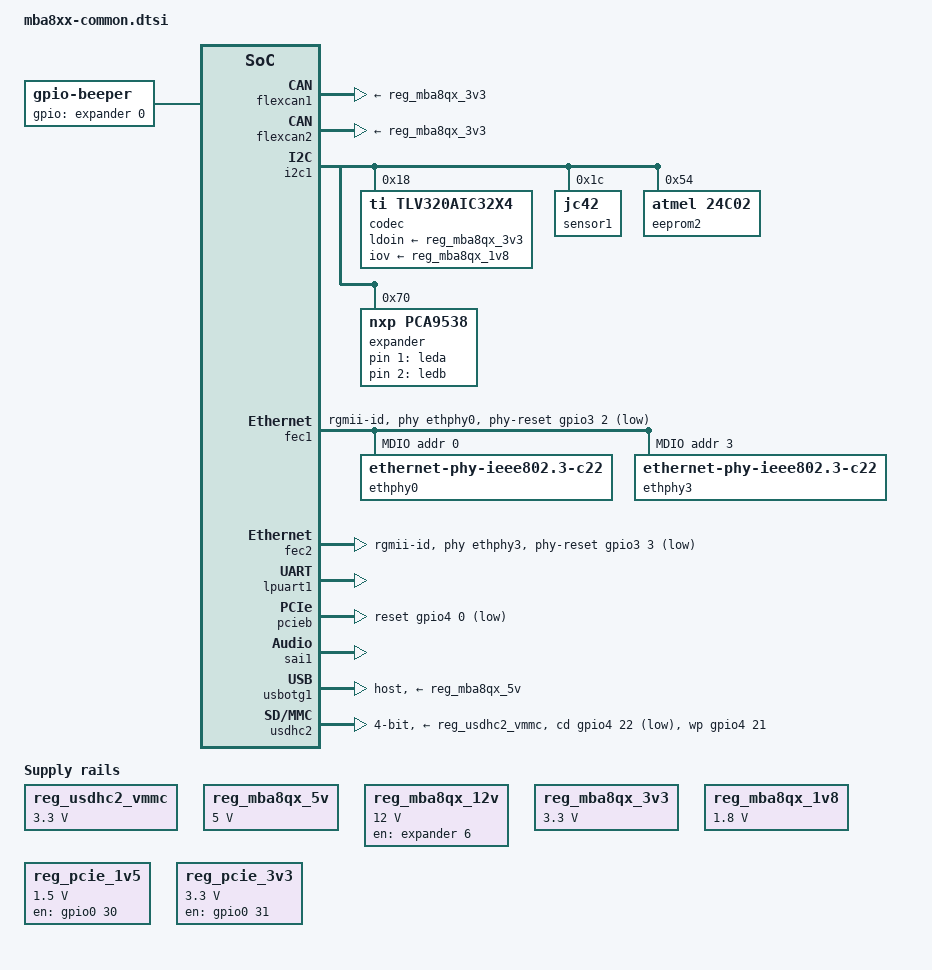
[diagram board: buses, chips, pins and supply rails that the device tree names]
/*
 * Copyright 2018 TQ Systems GmbH
 *
 * This program is free software; you can redistribute it and/or
 * modify it under the terms of the GNU General Public License
 * as published by the Free Software Foundation; either version 2
 * of the License, or (at your option) any later version.
 *
 * This program is distributed in the hope that it will be useful,
 * but WITHOUT ANY WARRANTY; without even the implied warranty of
 * MERCHANTABILITY or FITNESS FOR A PARTICULAR PURPOSE.  See the
 * GNU General Public License for more details.
 */

#include <dt-bindings/net/ti-dp83867.h>

/ {
	chosen {
		bootargs = "console=ttyLP1,115200 earlycon=lpuart32,0x5a070000,115200";
		stdout-path = &lpuart1;
	};

	beeper: gpio-beeper {
		compatible = "gpio-beeper";
		gpios = <&expander 0 GPIO_ACTIVE_HIGH>;
		status = "okay";
	};

	gpio-leds {
		compatible = "gpio-leds";
		status = "okay";

		led1 {
			label = "leda";
			gpios = <&expander 1 GPIO_ACTIVE_HIGH>;
			linux,default-trigger = "default-on";
		};

		led2 {
			label = "ledb";
			gpios = <&expander 2 GPIO_ACTIVE_HIGH>;
			linux,default-trigger = "heartbeat";
		};
	};

	regulators {
		compatible = "simple-bus";
		#address-cells = <1>;
		#size-cells = <0>;

		reg_usdhc2_vmmc: usdhc2_vmmc {
			compatible = "regulator-fixed";
			regulator-name = "SD1_PWR";
			regulator-min-microvolt = <3300000>;
			regulator-max-microvolt = <3300000>;
			status = "okay";
		};

		reg_mba8qx_5v: mba8qx_5v {
			compatible = "regulator-fixed";
			regulator-name = "MBA8QX_V5V";
			regulator-min-microvolt = <5000000>;
			regulator-max-microvolt = <5000000>;
			regulator-always-on;
			status = "okay";
		};

		reg_mba8qx_12v: mba8qx_12v {
			compatible = "regulator-fixed";
			regulator-name = "MBA8QX_12V";
			regulator-min-microvolt = <12000000>;
			regulator-max-microvolt = <12000000>;
			gpio = <&expander 6 GPIO_ACTIVE_HIGH>;
			enable-active-high;
			status = "okay";
		};

		reg_mba8qx_3v3: mba8qx_3v3 {
			compatible = "regulator-fixed";
			regulator-name = "MBA8QX_3V3";
			regulator-min-microvolt = <3300000>;
			regulator-max-microvolt = <3300000>;
			regulator-always-on;
			status = "okay";
		};

		reg_mba8qx_1v8: mba8qx_1v8 {
			compatible = "regulator-fixed";
			regulator-name = "MBA8QX_1V8";
			regulator-min-microvolt = <1800000>;
			regulator-max-microvolt = <1800000>;
			regulator-always-on;
			status = "okay";
		};

		reg_pcie_1v5: mba8qx-pcie-1v5 {
			compatible = "regulator-fixed";
			regulator-name = "MBA8QX_PCIE_1V5";
			pinctrl-names = "default";
			pinctrl-0 = <&pinctrl_reg_pcie_1v5>;
			regulator-min-microvolt = <1500000>;
			regulator-max-microvolt = <1500000>;
			gpio = <&gpio0 30 GPIO_ACTIVE_HIGH>;
			startup-delay-us = <1000>;
			enable-active-high;
			status = "okay";
		};

		reg_pcie_3v3: mba8qx-pcie-3v3 {
			compatible = "regulator-fixed";
			regulator-name = "MBA8QX_PCIE_3V3";
			pinctrl-names = "default";
			pinctrl-0 = <&pinctrl_reg_pcie_3v3>;
			regulator-min-microvolt = <3300000>;
			regulator-max-microvolt = <3300000>;
			gpio = <&gpio0 31 GPIO_ACTIVE_HIGH>;
			startup-delay-us = <1000>;
			enable-active-high;
			status = "okay";
		};
	};

	sound {
		compatible = "fsl,imx-audio-tlv320aic32x4";
		model = "imx8qxp-mba8xx-tlv320aic32";
		ssi-controller = <&sai1>;
		audio-codec = <&codec>;
	};
};

/* CPU device tree mixes up counting from 0 and counting from 1 */
&flexcan1 {
	pinctrl-names = "default";
	pinctrl-0 = <&pinctrl_can0>;
	xceiver-supply = <&reg_mba8qx_3v3>;
	status = "okay";
};

&flexcan2 {
	pinctrl-names = "default";
	pinctrl-0 = <&pinctrl_can1>;
	xceiver-supply = <&reg_mba8qx_3v3>;
	status = "okay";
};

&i2c1 {
	codec: tlv320aic32x4@18 {
		compatible = "ti,tlv320aic32x4";
		reg = <0x18>;
		clocks = <&clk IMX8QXP_AUD_MCLKOUT0>;
		clock-names = "mclk";

		power-domains = <&pd_mclk_out0>;
		assigned-clocks = <&clk IMX8QXP_AUD_PLL0_DIV>,
				<&clk IMX8QXP_AUD_ACM_AUD_PLL_CLK0_DIV>,
				<&clk IMX8QXP_AUD_ACM_AUD_REC_CLK0_DIV>,
				<&clk IMX8QXP_AUD_MCLKOUT0>;
		assigned-clock-rates = <786432000>, <49152000>, <12288000>, <12288000>;

		ldoin-supply = <&reg_mba8qx_3v3>;
		iov-supply = <&reg_mba8qx_1v8>;
	};

	/*
	 * NXP SE97BTP with temperature sensor + eeprom
	 * ATTENTION: do not use correct dt compatible since this will conflict
	 * with hwmon sysfs ABI and break device registration
	 */
	sensor1: jc42@1c {
		compatible = "jc42";
		reg = <0x1c>;
		status = "okay";
	};

	eeprom2: 24c02@54 {
		compatible = "atmel,24c02";
		reg = <0x54>;
		pagesize = <16>;
		status = "okay";
	};

	expander: pca9538@70 {
		compatible = "nxp,pca9538";
		reg = <0x70>;
		pinctrl-names = "default";
		pinctrl-0 = <&pinctrl_pca9538>;
		gpio-controller;
		#gpio-cells = <2>;
/*
		interrupt-parent = <&gpio3>;
		interrupts = <8 IRQ_TYPE_LEVEL_LOW>;
*/
	};
};

&iomuxc {
	pinctrl-names = "default";
	pinctrl-0 = <&pinctrl_hog>;

	tqma8qx-mba8qx {
		pinctrl_lpuart1: lpuart1grp {
			fsl,pins = <
				SC_P_UART1_RX_ADMA_UART1_RX	0x06000020
				SC_P_UART1_TX_ADMA_UART1_TX	0x06000020
			>;
		};

		pinctrl_can0: can0grp {
			fsl,pins = <
				SC_P_UART0_RX_ADMA_FLEXCAN0_RX	0x06000020
				SC_P_UART0_TX_ADMA_FLEXCAN0_TX	0x06000020
			>;
		};

		pinctrl_can1: can1grp {
			fsl,pins = <
				SC_P_UART2_RX_ADMA_FLEXCAN1_RX	0x06000020
				SC_P_UART2_TX_ADMA_FLEXCAN1_TX	0x06000020
			>;
		};

		pinctrl_fec1: fec1grp {
			fsl,pins = <
				SC_P_ENET0_MDC_CONN_ENET0_MDC			0x06000048
				SC_P_ENET0_MDIO_CONN_ENET0_MDIO			0x06000048
				SC_P_ENET0_RGMII_TX_CTL_CONN_ENET0_RGMII_TX_CTL	0x06000048
				SC_P_ENET0_RGMII_TXC_CONN_ENET0_RGMII_TXC	0x06000048
				SC_P_ENET0_RGMII_TXD0_CONN_ENET0_RGMII_TXD0	0x06000048
				SC_P_ENET0_RGMII_TXD1_CONN_ENET0_RGMII_TXD1	0x06000048
				SC_P_ENET0_RGMII_TXD2_CONN_ENET0_RGMII_TXD2	0x06000048
				SC_P_ENET0_RGMII_TXD3_CONN_ENET0_RGMII_TXD3	0x06000048
				SC_P_ENET0_RGMII_RXC_CONN_ENET0_RGMII_RXC	0x06000048
				SC_P_ENET0_RGMII_RX_CTL_CONN_ENET0_RGMII_RX_CTL	0x06000048
				SC_P_ENET0_RGMII_RXD0_CONN_ENET0_RGMII_RXD0	0x06000048
				SC_P_ENET0_RGMII_RXD1_CONN_ENET0_RGMII_RXD1	0x06000048
				SC_P_ENET0_RGMII_RXD2_CONN_ENET0_RGMII_RXD2	0x06000048
				SC_P_ENET0_RGMII_RXD3_CONN_ENET0_RGMII_RXD3	0x06000048

				SC_P_CSI_EN_LSIO_GPIO3_IO02			0x06000048
			>;
		};

		pinctrl_fec2: fec2grp {
			fsl,pins = <
				SC_P_ESAI0_SCKR_CONN_ENET1_RGMII_TX_CTL		0x06000048
				SC_P_ESAI0_FSR_CONN_ENET1_RGMII_TXC		0x06000048
				SC_P_ESAI0_TX4_RX1_CONN_ENET1_RGMII_TXD0	0x06000048
				SC_P_ESAI0_TX5_RX0_CONN_ENET1_RGMII_TXD1	0x06000048
				SC_P_ESAI0_FST_CONN_ENET1_RGMII_TXD2		0x06000048
				SC_P_ESAI0_SCKT_CONN_ENET1_RGMII_TXD3		0x06000048
				SC_P_ESAI0_TX0_CONN_ENET1_RGMII_RXC		0x06000048
				SC_P_SPDIF0_TX_CONN_ENET1_RGMII_RX_CTL		0x06000048
				SC_P_SPDIF0_RX_CONN_ENET1_RGMII_RXD0		0x06000048
				SC_P_ESAI0_TX3_RX2_CONN_ENET1_RGMII_RXD1	0x06000048
				SC_P_ESAI0_TX2_RX3_CONN_ENET1_RGMII_RXD2	0x06000048
				SC_P_ESAI0_TX1_CONN_ENET1_RGMII_RXD3		0x06000048

				SC_P_CSI_RESET_LSIO_GPIO3_IO03			0x06000048
			>;
		};

		pinctrl_hog: mba8qxhoggrp {
			fsl,pins = <
				SC_P_MIPI_CSI0_I2C0_SCL_LSIO_GPIO3_IO05		0x06000048
				SC_P_MIPI_CSI0_I2C0_SDA_LSIO_GPIO3_IO06		0x06000048
				SC_P_MIPI_CSI0_GPIO0_01_LSIO_GPIO3_IO07		0x06000048
			>;
		};

		pinctrl_pca9538: pca9538grp {
			fsl,pins = <
				SC_P_MIPI_CSI0_GPIO0_00_LSIO_GPIO3_IO08		0x06000020
			>;
		};

		pinctrl_pcieb: pcieagrp{
			fsl,pins = <
				SC_P_PCIE_CTRL0_PERST_B_LSIO_GPIO4_IO00		0x06000041
				SC_P_PCIE_CTRL0_CLKREQ_B_LSIO_GPIO4_IO01	0x06000041
				SC_P_PCIE_CTRL0_WAKE_B_LSIO_GPIO4_IO02		0x04000041
			>;
		};

		pinctrl_reg_pcie_1v5: regpcie1v5grp {
			fsl,pins = <
				SC_P_SAI1_RXC_LSIO_GPIO0_IO30			0x06000021
			>;
		};

		pinctrl_reg_pcie_3v3: regpcie3v3grp {
			fsl,pins = <
				SC_P_SAI1_RXFS_LSIO_GPIO0_IO31			0x06000021
			>;
		};

		pinctrl_sai1: sai1grp {
			fsl,pins = <
				SC_P_FLEXCAN0_RX_ADMA_SAI1_TXC		0x06000040
				SC_P_FLEXCAN0_TX_ADMA_SAI1_TXFS		0x06000040
				SC_P_FLEXCAN1_RX_ADMA_SAI1_TXD		0x06000040
				SC_P_FLEXCAN1_TX_ADMA_SAI1_RXD		0x06000040
				SC_P_FLEXCAN2_RX_ADMA_SAI1_RXFS		0x06000040
				SC_P_FLEXCAN2_TX_ADMA_SAI1_RXC		0x06000040
			>;
		};

		pinctrl_usbotg1: usbotg1grp {
			fsl,pins = <
				SC_P_USB_SS3_TC0_CONN_USB_OTG1_PWR	0x06000020
				SC_P_USB_SS3_TC2_CONN_USB_OTG1_OC	0x06000020
			>;
		};

		pinctrl_usdhc2_gpio: usdhc2gpiogrp {
			fsl,pins = <
				SC_P_USDHC1_RESET_B_LSIO_GPIO4_IO19	0x06000021
				SC_P_USDHC1_WP_LSIO_GPIO4_IO21		0x06000021
				SC_P_USDHC1_CD_B_LSIO_GPIO4_IO22	0x06000021
			>;
		};

		pinctrl_usdhc2: usdhc2grp {
			fsl,pins = <
				SC_P_USDHC1_CLK_CONN_USDHC1_CLK		0x06000041
				SC_P_USDHC1_CMD_CONN_USDHC1_CMD		0x06000021
				SC_P_USDHC1_DATA0_CONN_USDHC1_DATA0	0x06000021
				SC_P_USDHC1_DATA1_CONN_USDHC1_DATA1	0x06000021
				SC_P_USDHC1_DATA2_CONN_USDHC1_DATA2	0x06000021
				SC_P_USDHC1_DATA3_CONN_USDHC1_DATA3	0x06000021
				SC_P_USDHC1_VSELECT_CONN_USDHC1_VSELECT	0x06000021
			>;
		};

		pinctrl_usdhc2_100mhz: usdhc2grp100mhz {
			fsl,pins = <
				SC_P_USDHC1_CLK_CONN_USDHC1_CLK		0x06000040
				SC_P_USDHC1_CMD_CONN_USDHC1_CMD		0x06000020
				SC_P_USDHC1_DATA0_CONN_USDHC1_DATA0	0x06000020
				SC_P_USDHC1_DATA1_CONN_USDHC1_DATA1	0x06000020
				SC_P_USDHC1_DATA2_CONN_USDHC1_DATA2	0x06000020
				SC_P_USDHC1_DATA3_CONN_USDHC1_DATA3	0x06000020
				SC_P_USDHC1_VSELECT_CONN_USDHC1_VSELECT	0x06000020
			>;
		};

		pinctrl_usdhc2_200mhz: usdhc2grp200mhz {
			fsl,pins = <
				SC_P_USDHC1_CLK_CONN_USDHC1_CLK		0x06000040
				SC_P_USDHC1_CMD_CONN_USDHC1_CMD		0x06000020
				SC_P_USDHC1_DATA0_CONN_USDHC1_DATA0	0x06000020
				SC_P_USDHC1_DATA1_CONN_USDHC1_DATA1	0x06000020
				SC_P_USDHC1_DATA2_CONN_USDHC1_DATA2	0x06000020
				SC_P_USDHC1_DATA3_CONN_USDHC1_DATA3	0x06000020
				SC_P_USDHC1_VSELECT_CONN_USDHC1_VSELECT	0x06000020
			>;
		};
	};
};

&fec1 {
	pinctrl-names = "default";
	pinctrl-0 = <&pinctrl_fec1>;
	phy-mode = "rgmii-id";
	phy-handle = <&ethphy0>;
	phy-reset-gpios = <&gpio3 2 GPIO_ACTIVE_LOW>;
	phy-reset-duration = <500>;
	fsl,magic-packet;
	mac-address = [ 00 00 00 00 00 00 ];
	local-mac-address = [ 00 00 00 00 00 00 ];
	status = "okay";

	mdio {
		#address-cells = <1>;
		#size-cells = <0>;

		ethphy0: ethernet-phy@0 {
			compatible = "ethernet-phy-ieee802.3-c22";
			reg = <0>;
			ti,rx-internal-delay = <DP83867_RGMIIDCTL_2_25_NS>;
			ti,tx-internal-delay = <DP83867_RGMIIDCTL_2_25_NS>;
			ti,dp83867-rxctrl-strap-quirk;
			ti,led-cfg1 = <0xc100>; /* LED1: Link, LED2: activity */
			ti,led-cfg2 = <0x1001>; /* active low, LED1/2 driven by phy */
		};

		ethphy3: ethernet-phy@3 {
			compatible = "ethernet-phy-ieee802.3-c22";
			reg = <3>;
			ti,rx-internal-delay = <DP83867_RGMIIDCTL_2_25_NS>;
			ti,tx-internal-delay = <DP83867_RGMIIDCTL_2_25_NS>;
			ti,dp83867-rxctrl-strap-quirk;
			ti,led-cfg1 = <0xc100>; /* LED1: Link, LED2: activity */
			ti,led-cfg2 = <0x1001>; /* active low, LED1/2 driven by phy */
		};
	};
};

&fec2 {
	pinctrl-names = "default";
	pinctrl-0 = <&pinctrl_fec2>;
	phy-mode = "rgmii-id";
	phy-handle = <&ethphy3>;
	fsl,magic-packet;
	phy-reset-gpios = <&gpio3 3 GPIO_ACTIVE_LOW>;
	phy-reset-duration = <500>;
	mac-address = [ 00 00 00 00 00 00 ];
	local-mac-address = [ 00 00 00 00 00 00 ];

	status = "okay";
};

&lpuart1 {
	pinctrl-names = "default";
	pinctrl-0 = <&pinctrl_lpuart1>;
	status = "okay";
};

&pd_dma_lpuart1 {
	debug_console;
};

&pcieb{
	ext_osc = <1>;
	pinctrl-names = "default";
	pinctrl-0 = <&pinctrl_pcieb>;
/* TODO: optional, currently without functionality */
/*	clkreq-gpio = <&gpio4 1 GPIO_ACTIVE_LOW>; */
	disable-gpio = <&expander 7 GPIO_ACTIVE_LOW>;
	reset-gpio = <&gpio4 0 GPIO_ACTIVE_LOW>;
	epdev_on-supply = <&reg_pcie_3v3>;
	vpcie-supply = <&reg_pcie_1v5>;
	status = "okay";
};

&sai1 {
	assigned-clocks = <&clk IMX8QXP_AUD_PLL0_DIV>,
			<&clk IMX8QXP_AUD_ACM_AUD_PLL_CLK0_DIV>,
			<&clk IMX8QXP_AUD_ACM_AUD_REC_CLK0_DIV>,
			<&clk IMX8QXP_AUD_SAI_1_MCLK>;
	assigned-clock-rates = <786432000>, <49152000>, <12288000>, <49152000>;
	pinctrl-names = "default";
	pinctrl-0 = <&pinctrl_sai1>;
	status = "okay";
};

&usbotg1 {
	pinctrl-names = "default";
	pinctrl-0 = <&pinctrl_usbotg1>;
	vbus-supply = <&reg_mba8qx_5v>;
	srp-disable;
	hnp-disable;
	adp-disable;
	power-polarity-active-high;
	disable-over-current;
	dr_mode = "host";
	status = "okay";
};

&usdhc2 {
	pinctrl-names = "default", "state_100mhz", "state_200mhz";
	pinctrl-0 = <&pinctrl_usdhc2>, <&pinctrl_usdhc2_gpio>;
	pinctrl-1 = <&pinctrl_usdhc2_100mhz>, <&pinctrl_usdhc2_gpio>;
	pinctrl-2 = <&pinctrl_usdhc2_200mhz>, <&pinctrl_usdhc2_gpio>;
	bus-width = <4>;
	cd-gpios = <&gpio4 22 GPIO_ACTIVE_LOW>;
	wp-gpios = <&gpio4 21 GPIO_ACTIVE_HIGH>;
	vmmc-supply = <&reg_usdhc2_vmmc>;
	status = "okay";
};
